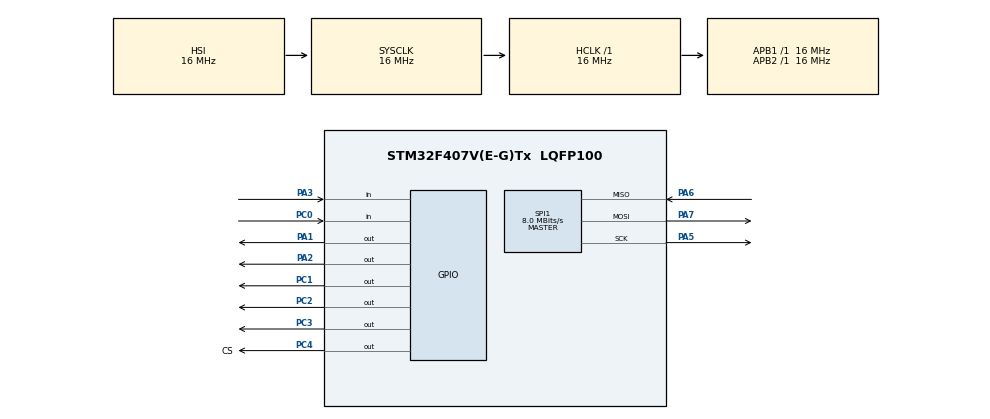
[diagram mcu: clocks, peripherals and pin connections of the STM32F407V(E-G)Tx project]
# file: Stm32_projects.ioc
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Mcu.Family=STM32F4
Mcu.Name=STM32F407V(E-G)Tx
Mcu.Package=LQFP100
NVIC.PriorityGroup=NVIC_PRIORITYGROUP_4
PA1.Signal=GPIO_Output
PA13.Mode=Serial_Wire
PA13.Signal=SYS_JTMS-SWDIO
PA14.Mode=Serial_Wire
PA14.Signal=SYS_JTCK-SWCLK
PA2.Signal=GPIO_Output
PA3.Signal=GPIO_Input
PA5.Mode=Full_Duplex_Master
PA5.Signal=SPI1_SCK
PA6.Mode=Full_Duplex_Master
PA6.Signal=SPI1_MISO
PA7.Mode=Full_Duplex_Master
PA7.Signal=SPI1_MOSI
PC0.Signal=GPIO_Input
PC1.Signal=GPIO_Output
PC14-OSC32_IN.Mode=LSE-External-Oscillator
PC14-OSC32_IN.Signal=RCC_OSC32_IN
PC15-OSC32_OUT.Mode=LSE-External-Oscillator
PC15-OSC32_OUT.Signal=RCC_OSC32_OUT
PC2.Signal=GPIO_Output
PC3.Signal=GPIO_Output
PC4.GPIO_Label=CS
PC4.Signal=GPIO_Output
PH0-OSC_IN.Mode=HSE-External-Oscillator
PH0-OSC_IN.Signal=RCC_OSC_IN
PH1-OSC_OUT.Mode=HSE-External-Oscillator
PH1-OSC_OUT.Signal=RCC_OSC_OUT
ProjectManager.HeapSize=0x200
ProjectManager.StackSize=0x400
ProjectManager.TargetToolchain=STM32CubeIDE
RCC.AHBFreq_Value=16000000
RCC.APB1Freq_Value=16000000
RCC.APB2Freq_Value=16000000
RCC.CortexFreq_Value=16000000
RCC.HSE_VALUE=8000000
RCC.HSI_VALUE=16000000
RCC.SYSCLKFreq_VALUE=16000000
RCC.VCOOutputFreq_Value=192000000
SPI1.CalculateBaudRate=8.0 MBits/s
SPI1.Direction=SPI_DIRECTION_2LINES
SPI1.Mode=SPI_MODE_MASTER
SPI1.VirtualType=VM_MASTER
board=custom

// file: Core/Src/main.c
/* USER CODE BEGIN Header */
/**
 ******************************************************************************
 * @file           : main.c
 * @brief          : Main program body
 ******************************************************************************
 * @attention
 *
 * Copyright (c) 2022 STMicroelectronics.
 * All rights reserved.
 *
 * This software is licensed under terms that can be found in the LICENSE file
 * in the root directory of this software component.
 * If no LICENSE file comes with this software, it is provided AS-IS.
 *
 ******************************************************************************
 */
/* USER CODE END Header */
#include "main.h"

/* USER CODE BEGIN Includes */
uint8_t data[3];
int x;
int y;
int z;
int calibreX = 300;
int calibreY = 250;
int calibreZ = 180;

/* USER CODE END Includes */

 SPI_HandleTypeDef hspi1;

void SystemClock_Config(void);
static void MX_GPIO_Init(void);
static void MX_SPI1_Init(void);

int main(void)
{

  /* MCU Configuration--------------------------------------------------------*/

  /* Reset of all peripherals, Initializes the Flash interface and the Systick. */
  HAL_Init();

  /* Configure the system clock */
  SystemClock_Config();

  /* Initialize all configured peripherals */
  MX_GPIO_Init();
  MX_SPI1_Init();
  /* USER CODE BEGIN 2 */
	HAL_GPIO_WritePin(CS_GPIO_Port, CS_Pin, GPIO_PIN_SET);
	HAL_Delay(10);
	HAL_GPIO_WritePin(CS_GPIO_Port, CS_Pin, GPIO_PIN_SET);
	HAL_Delay(10);
	HAL_GPIO_WritePin(CS_GPIO_Port, CS_Pin, GPIO_PIN_SET);
	HAL_Delay(10);
	HAL_GPIO_WritePin(CS_GPIO_Port, CS_Pin, GPIO_PIN_SET);
	HAL_Delay(100);
	ADXL_Init();
  /* USER CODE END 2 */

  /* Infinite loop */
	while (1) {

    /* USER CODE BEGIN 3 */
		ADXL_Sleep(0);
		ADXL_Standby(1);
		ADXL_test(1);
		ADXL_disableSingleTap();
		ADXL_getAccel(data, 1);
		x = data[0]+0.15;
		y = data[1]+0.20;
		z = data[2]+0.30;
		if (shortcheck(2))  //i letter check
				{
			lcd_clear();
			lcd_put_cur(0, 0);
			lcd_send_data("i");
		}
		if (longcheck(1) && shortcheck(3))  //b letter check
				{
			lcd_put_cur(0, 1);
			lcd_send_data("b");
		}
		if (shortcheck(1) && longcheck(1) && shortcheck(1))  //r letter check
				{
			lcd_put_cur(0, 2);
			lcd_send_data("r");
		}
		if (shortcheck(1) && longcheck(1) )  //a letter check
			{
				lcd_put_cur(0, 3);
				lcd_send_data("a");
			}

	}
  /* USER CODE END 3 */
}

void SystemClock_Config(void)
{
  RCC_OscInitTypeDef RCC_OscInitStruct = {0};
  RCC_ClkInitTypeDef RCC_ClkInitStruct = {0};

  /** Configure the main internal regulator output voltage
  */
  __HAL_RCC_PWR_CLK_ENABLE();
  __HAL_PWR_VOLTAGESCALING_CONFIG(PWR_REGULATOR_VOLTAGE_SCALE1);

  /** Initializes the RCC Oscillators according to the specified parameters
  * in the RCC_OscInitTypeDef structure.
  */
  RCC_OscInitStruct.OscillatorType = RCC_OSCILLATORTYPE_HSI;
  RCC_OscInitStruct.HSIState = RCC_HSI_ON;
  RCC_OscInitStruct.HSICalibrationValue = RCC_HSICALIBRATION_DEFAULT;
  RCC_OscInitStruct.PLL.PLLState = RCC_PLL_NONE;
  if (HAL_RCC_OscConfig(&RCC_OscInitStruct) != HAL_OK)
  {
    Error_Handler();
  }

  /** Initializes the CPU, AHB and APB buses clocks
  */
  RCC_ClkInitStruct.ClockType = RCC_CLOCKTYPE_HCLK|RCC_CLOCKTYPE_SYSCLK
                              |RCC_CLOCKTYPE_PCLK1|RCC_CLOCKTYPE_PCLK2;
  RCC_ClkInitStruct.SYSCLKSource = RCC_SYSCLKSOURCE_HSI;
  RCC_ClkInitStruct.AHBCLKDivider = RCC_SYSCLK_DIV1;
  RCC_ClkInitStruct.APB1CLKDivider = RCC_HCLK_DIV1;
  RCC_ClkInitStruct.APB2CLKDivider = RCC_HCLK_DIV1;

  if (HAL_RCC_ClockConfig(&RCC_ClkInitStruct, FLASH_LATENCY_0) != HAL_OK)
  {
    Error_Handler();
  }
}

static void MX_SPI1_Init(void)
{

  /* SPI1 parameter configuration*/
  hspi1.Instance = SPI1;
  hspi1.Init.Mode = SPI_MODE_MASTER;
  hspi1.Init.Direction = SPI_DIRECTION_2LINES;
  hspi1.Init.DataSize = SPI_DATASIZE_8BIT;
  hspi1.Init.CLKPolarity = SPI_POLARITY_LOW;
  hspi1.Init.CLKPhase = SPI_PHASE_1EDGE;
  hspi1.Init.NSS = SPI_NSS_SOFT;
  hspi1.Init.BaudRatePrescaler = SPI_BAUDRATEPRESCALER_2;
  hspi1.Init.FirstBit = SPI_FIRSTBIT_MSB;
  hspi1.Init.TIMode = SPI_TIMODE_DISABLE;
  hspi1.Init.CRCCalculation = SPI_CRCCALCULATION_DISABLE;
  hspi1.Init.CRCPolynomial = 10;
  if (HAL_SPI_Init(&hspi1) != HAL_OK)
  {
    Error_Handler();
  }

}

static void MX_GPIO_Init(void)
{
  GPIO_InitTypeDef GPIO_InitStruct = {0};

  /* GPIO Ports Clock Enable */
  __HAL_RCC_GPIOC_CLK_ENABLE();
  __HAL_RCC_GPIOH_CLK_ENABLE();
  __HAL_RCC_GPIOA_CLK_ENABLE();

  /*Configure GPIO pin Output Level */
  HAL_GPIO_WritePin(GPIOC, GPIO_PIN_1|GPIO_PIN_2|GPIO_PIN_3|CS_Pin, GPIO_PIN_RESET);

  /*Configure GPIO pin Output Level */
  HAL_GPIO_WritePin(GPIOA, GPIO_PIN_1|GPIO_PIN_2, GPIO_PIN_RESET);

  /*Configure GPIO pin : PC0 */
  GPIO_InitStruct.Pin = GPIO_PIN_0;
  GPIO_InitStruct.Mode = GPIO_MODE_INPUT;
  GPIO_InitStruct.Pull = GPIO_NOPULL;
  HAL_GPIO_Init(GPIOC, &GPIO_InitStruct);

  /*Configure GPIO pins : PC1 PC2 PC3 CS_Pin */
  GPIO_InitStruct.Pin = GPIO_PIN_1|GPIO_PIN_2|GPIO_PIN_3|CS_Pin;
  GPIO_InitStruct.Mode = GPIO_MODE_OUTPUT_PP;
  GPIO_InitStruct.Pull = GPIO_NOPULL;
  GPIO_InitStruct.Speed = GPIO_SPEED_FREQ_LOW;
  HAL_GPIO_Init(GPIOC, &GPIO_InitStruct);

  /*Configure GPIO pins : PA1 PA2 */
  GPIO_InitStruct.Pin = GPIO_PIN_1|GPIO_PIN_2;
  GPIO_InitStruct.Mode = GPIO_MODE_OUTPUT_PP;
  GPIO_InitStruct.Pull = GPIO_NOPULL;
  GPIO_InitStruct.Speed = GPIO_SPEED_FREQ_LOW;
  HAL_GPIO_Init(GPIOA, &GPIO_InitStruct);

  /*Configure GPIO pin : PA3 */
  GPIO_InitStruct.Pin = GPIO_PIN_3;
  GPIO_InitStruct.Mode = GPIO_MODE_INPUT;
  GPIO_InitStruct.Pull = GPIO_NOPULL;
  HAL_GPIO_Init(GPIOA, &GPIO_InitStruct);

}

/* USER CODE BEGIN 4 */
int longcheck(int i) {
	int millis = HAL_GetTick();
	for (int a = 0; a < i; a++) {

		if (x - 200 == calibreX) {
			if (HAL_GetTick() - millis > 2000) {
				return 1;
			} else
				return 0;

		} else
			return 0;
	}
}
int shortcheck(int i) {
	int millis = HAL_GetTick();
	for (int a = 0; a < i; a++) {

		if (x - 200 == calibreX) {
			if (HAL_GetTick() - millis < 2000) {
				return 1;
			} else
				return 0;

		} else
			return 0;
	}
}

/* USER CODE END 4 */

void Error_Handler(void)
{
	__disable_irq();
	while (1) {
	}
}
